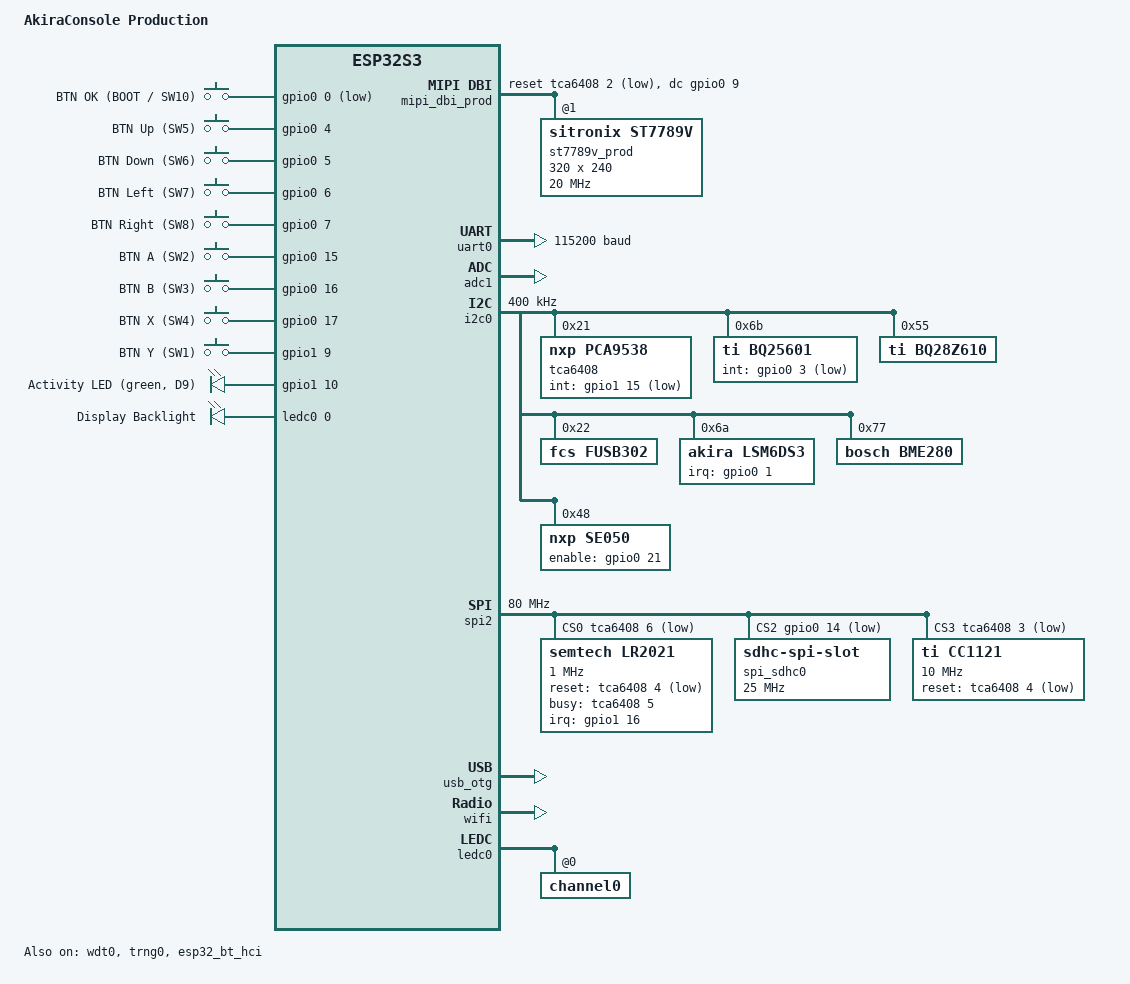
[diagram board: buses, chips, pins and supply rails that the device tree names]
/dts-v1/;

// Base SoC DTSI — ESP32-S3-WROOM-1-N8 pin-compatible with N16R8.
// Flash size override (16MB) applied via CONFIG_ESPTOOLPY_FLASHSIZE_16MB in .conf.
#include <espressif/esp32s3/esp32s3_mini_n8.dtsi>
#include <zephyr/dt-bindings/input/input-event-codes.h>
#include <zephyr/dt-bindings/gpio/gpio.h>
#include <zephyr/dt-bindings/i2c/i2c.h>
#include <zephyr/dt-bindings/mipi_dbi/mipi_dbi.h>
#include <zephyr/dt-bindings/pwm/pwm.h>
#include <espressif/partitions_0x0_amp.dtsi>
#include "akiraconsole_prod-pinctrl.dtsi"

/ {
	model = "AkiraConsole Production";
	compatible = "penengineering,akiraconsole-prod", "espressif,esp32s3";

	aliases {
		i2c-0     = &i2c0;
		watchdog0 = &wdt0;
		sw0       = &btn_ok;
		akira-led = &led_act;
	};

	chosen {
		zephyr,sram           = &sram1;
		zephyr,console        = &uart0;
		zephyr,shell-uart     = &uart0;
		zephyr,flash          = &flash0;
		zephyr,code-partition = &slot0_partition;
		zephyr,bt-hci         = &esp32_bt_hci;
		zephyr,display        = &st7789v_prod;
	};

	// =========================================================================
	// Buttons — direct ESP32-S3 GPIO connections
	//
	// D-pad + face: active-high, 100Ω series + 10k pull-up on PCB;
	//   GPIO input configured with pull-down for noise immunity.
	// BTN.OK (SW10 / GPIO0): active-low pull-up — also the BOOT mode trigger.
	//
	// zephyr,code maps to AKIRA_BTN_* (akira_input.h):
	//   INPUT_KEY_0=OK  2=UP 3=DOWN 4=LEFT 5=RIGHT 6=A 7=B 8=X 9=Y
	// =========================================================================
	gpio_keys {
		compatible = "gpio-keys";

		btn_ok: btn_ok {
			gpios = <&gpio0 0 (GPIO_PULL_UP | GPIO_ACTIVE_LOW)>;
			label = "BTN OK (BOOT / SW10)";
			zephyr,code = <1>; /* AKIRA_BTN_HOME = 1; INPUT_KEY_0 = 11, wrong value */
		};
		btn_up: btn_up {
			gpios = <&gpio0 4 (GPIO_PULL_DOWN | GPIO_ACTIVE_HIGH)>;
			label = "BTN Up (SW5)";
			zephyr,code = <2>;
		};
		btn_down: btn_down {
			gpios = <&gpio0 5 (GPIO_PULL_DOWN | GPIO_ACTIVE_HIGH)>;
			label = "BTN Down (SW6)";
			zephyr,code = <3>;
		};
		btn_left: btn_left {
			gpios = <&gpio0 6 (GPIO_PULL_DOWN | GPIO_ACTIVE_HIGH)>;
			label = "BTN Left (SW7)";
			zephyr,code = <4>;
		};
		btn_right: btn_right {
			gpios = <&gpio0 7 (GPIO_PULL_DOWN | GPIO_ACTIVE_HIGH)>;
			label = "BTN Right (SW8)";
			zephyr,code = <5>;
		};
		btn_a: btn_a {
			gpios = <&gpio0 15 (GPIO_PULL_DOWN | GPIO_ACTIVE_HIGH)>;
			label = "BTN A (SW2)";
			zephyr,code = <6>;
		};
		btn_b: btn_b {
			gpios = <&gpio0 16 (GPIO_PULL_DOWN | GPIO_ACTIVE_HIGH)>;
			label = "BTN B (SW3)";
			zephyr,code = <8>;
		};
		btn_x: btn_x {
			gpios = <&gpio0 17 (GPIO_PULL_DOWN | GPIO_ACTIVE_HIGH)>;
			label = "BTN X (SW4)";
			zephyr,code = <9>;
		};
		btn_y: btn_y {
			gpios = <&gpio1 9 (GPIO_PULL_DOWN | GPIO_ACTIVE_HIGH)>; // GPIO41
			label = "BTN Y (SW1)";
			zephyr,code = <7>;
		};
	};

	// =========================================================================
	// LEDs
	// D9 — LED.ACT (green, LTST-S270KGKT), GPIO42, 270Ω series resistor.
	// D8 — power indicator (yellow, LTST-S270KSKT) driven by power rail, no GPIO.
	// D10 — charge indicator (yellow, LTST-S270KSKT) driven by BQ25601 STAT pin.
	// =========================================================================
	leds {
		compatible = "gpio-leds";
		led_act: led_act {
			gpios = <&gpio1 10 GPIO_ACTIVE_HIGH>; // GPIO42
			label = "Activity LED (green, D9)";
		};
	};

	// =========================================================================
	// Brightness wheel (RV1 = RK10J12R0A0B) + backlight (AP2502)
	//
	// Hardware circuit on GPIO46:
	//   D2/D3 (BAT54J) + RV1 (10 kΩ rheostat, pin 1 ↔ 5) + C67 (10 nF)
	//   form a relaxation oscillator: f ≈ 9 kHz, duty cycle = pot position.
	//   → U5B → U5A (74LVC2G14 Schmitt triggers) → R63 → GPIO46 (INPUT)
	//                                                   └→ AP2502 EN (direct)
	//
	// Two modes for GPIO46 (pinctrl-0 selects):
	//   mcpwm0_default (default): MCPWM0 CAP0 input — reads duty cycle
	//     → akira,brightness-wheel driver maps to 0-255 position value
	//     → reported as INPUT_ABS_MISC axis (use like DPAD / joystick axis)
	//   ledc0_default (override): LEDC CH0 output — MCU controls brightness
	//     → backlight pwm-leds node; pwm_set_dt() controls duty cycle
	//
	// RV1 hardware range: 9 %–91 % (CW = dim, CCW = bright).
	// Pot pin 1 shorted to pin 5 (rheostat wiring, not full voltage divider).
	// =========================================================================
	// Generic rotary dial input — reports INPUT_ABS_WHEEL (0-255).
	// Apps read it the same way as buttons; no hardcoded "brightness" semantics.
	// Disabled by default: GPIO46 is in LEDC output mode for backlight control.
	// To enable: disable ledc0, enable mcpwm0, set status = "okay" here.
	dial0: dial0 {
		compatible    = "akira,pwm-dial";
		pwms          = <&mcpwm0 6 0 PWM_POLARITY_NORMAL>; /* CAP0 = ch 6 */
		akira,min-pct = <9>;   /* CW stop  → axis 0   */
		akira,max-pct = <91>;  /* CCW stop → axis 255 */
		akira,poll-ms = <50>;
		status        = "disabled";
	};

	backlight: backlight {
		compatible  = "pwm-leds";
		bl_pwm: bl_pwm {
			pwms  = <&ledc0 0 PWM_HZ(10000) PWM_POLARITY_NORMAL>;
			label = "Display Backlight";
		};
	};

	aliases {
		dial0          = &dial0;        /* rotary input, same API as buttons */
		pwm-backlight0 = &backlight;
	};

	// =========================================================================
	// MIPI DBI SPI controller — ST7789V (J7, XF2M-4015-1A, 40-pin FFC)
	//
	// DC   = GPIO9  (TFT_DC)
	// RST  = TCA6408 P2 (TFT_RST via I2C GPIO expander U6, pin 4)
	// CS   = SPI2 cs-gpios[1] = GPIO10 (TFT_CS, active low)
	//
	// Disable this node and enable akira_ili9341_prod (in overlay) for ILI9341.
	// Disable and enable ls027b7dh01 + CONFIG_AKIRA_SHARP_DISPLAY for Sharp LCD.
	// =========================================================================
	mipi_dbi_prod: mipi_dbi_prod {
		compatible  = "zephyr,mipi-dbi-spi";
		spi-dev     = <&spi2>;
		dc-gpios    = <&gpio0 9  GPIO_ACTIVE_HIGH>; // TFT_DC  = GPIO9
		reset-gpios = <&tca6408 2 GPIO_ACTIVE_LOW>;  // TFT_RST via TCA6408 P2 (U6 pin 4)
		write-only;
		#address-cells = <1>;
		#size-cells    = <0>;

		// -----------------------------------------------------------------
		// ST7789V — 2.8" IPS TFT LCD, 320×240
		// Target parts: HS280S030RX / YT280S030 / ZK028-240320FS02-C45
		// Connector: J7 (XF2M-4015-1A, 40-pin FFC, 0.5mm top-contact)
		// AP2502 (U22) 4-LED backlight driver; EN controlled by PWM (GPIO46)
		// -----------------------------------------------------------------
		st7789v_prod: st7789v@1 {
			compatible         = "sitronix,st7789v";
			reg                = <1>;           // SPI2 cs-gpios[1] = GPIO10
			mipi-max-frequency = <20000000>;    /* 20 MHz — ST7789V rated up to 16 MHz; 20 MHz confirmed stable on 40-pin FFC */
				ready-time-ms      = <120>;         // extra margin after reset
				width              = <320>;
				height             = <240>;
				x-offset           = <0>;
				y-offset           = <0>;
				// Measured on hardware: sending INVON produced a colour-negative
				// image, so this panel wants INVOFF.
				inversion-off;
			vcom          = <0x19>;
			gctrl         = <0x35>;
			vrhs          = <0x12>;
			vdvs          = <0x20>;
			// 0x60 = MX|MV (landscape). D3 (BGR) deliberately CLEAR: the Zephyr
			// driver reports PIXEL_FORMAT_RGB_565, so BGR here swapped red/blue.
			mdac          = <0x60>;
			gamma         = <0x01>;
			colmod        = <0x55>;
			lcm           = <0x2c>;
			porch-param   = [0c 0c 00 33 33];
			cmd2en-param  = [5a 69 02 01];
			pwctrl1-param = [a4 a1];
			pvgam-param   = [D0 04 0D 11 13 2B 3F 54 4C 18 0D 0B 1F 23];
			nvgam-param   = [D0 04 0C 11 13 2C 3F 44 51 2F 1F 1F 20 23];
			// RAMCTRL param2 bit3 = ENDIAN. Set (F0 -> F8) so the panel reads
			// pixels little-endian, matching the native uint16_t framebuffer.
			// Avoids byte-swapping 153600 B on every frame in software.
			ram-param     = [00 F8];
			rgb-param     = [CD 08 14];
			mipi-mode     = "MIPI_DBI_MODE_SPI_4WIRE";
			status        = "okay";
		};
	};
};

// =============================================================================
// UART0 — shell / debug / CP2102N (U15) → J3 (USB-C debug port, VBUS2)
// TX = GPIO43 (U0TXD), RX = GPIO44 (U0RXD) — standard WROOM-1 UART0 pins.
// =============================================================================
&uart0 {
	status        = "okay";
	current-speed = <115200>;
	pinctrl-0     = <&uart0_default>;
	pinctrl-names = "default";
};

// =============================================================================
// GPIO banks
// =============================================================================
&gpio0 { status = "okay"; };
&gpio1 { status = "okay"; };

// =============================================================================
// ADC — ESP32-S3 SAR ADC (adc1)
// =============================================================================
&adc1 { status = "okay"; };

// =============================================================================
// I2C0 — all internal I2C peripherals
// SDA = GPIO8, SCL = GPIO18
// External 4.7kΩ pull-ups R26 + R27 on PCB.
// Fast mode (400kHz) — all listed devices support it.
//
// IMPORTANT: TCA6408 must initialise before SPI2 devices that reference its
// GPIO pins as chip-selects.  Zephyr's device model resolves this dependency
// automatically via the GPIO phandle in cs-gpios.
// =============================================================================
&i2c0 {
	status        = "okay";
	clock-frequency = <I2C_BITRATE_FAST>;
	pinctrl-0     = <&i2cm0_default>;
	pinctrl-names = "default";

	// -------------------------------------------------------------------------
	// TCA6408ARSV — 8-bit I2C GPIO expander (U6)
	// 7-bit addr 0x21 (ADDR → GND; 8-bit WRITE=0x42, READ=0x43)
	// ~INT → IO_INT → GPIO47 (gpio1 pin 15): fires on any input-pin change.
	// ~RESET → +3.3V (always deasserted; hardware reset not used in firmware).
	//
	// Pin map (verified against KiCad netlist HWAkiraConsole.net):
	//   P0 = USB_SEL  output — USB mux select (U21)
	//   P1 = OTG_EN   output — enables TPS61023 5V boost for USB OTG host (Q7)
	//   P2 = TFT_RST  output — ST7789V display reset (active low)
	//   P3 = CC_CS    output — CC1121 SPI chip select (active low)
	//   P4 = RF_RST   output — LR2021 + CC1121 combined reset (active low)
	//   P5 = LR_BUSY  input  — LR2021 BUSY (high = chip busy / resetting)
	//   P6 = LR_CS    output — LR2021 SPI chip select (active low)
	//   P7 = SD_DET   input  — microSD card detect, DET_A (active low = present)
	// -------------------------------------------------------------------------
	tca6408: tca6408@21 {
		// TCA6408ARSV — only supports basic registers 0x00-0x03.
		// Use nxp,pca9538 (gpio_pca_series driver) which is register-compatible
		// and does NOT access extended PCAL registers (0x40-0x4F).
		// nxp,pcal6408a (gpio_pcal64xxa driver) reads reg 0x46 during init,
		// causing I2C failure and device init crash on TCA6408ARSV hardware.
		// status = "disabled" here so MCUboot does NOT auto-compile the driver.
		// The app overlay enables it under #ifndef CONFIG_MCUBOOT.
		compatible    = "nxp,pca9538";
		reg           = <0x21>;
		gpio-controller;
		#gpio-cells   = <2>;
		ngpios        = <8>;
		int-gpios     = <&gpio1 15 GPIO_ACTIVE_LOW>; // IO_INT = GPIO47 (gpio1 pin 15)
		status        = "okay"; // enabled in overlay for app build only
	};

	// -------------------------------------------------------------------------
	// BQ25601RTW — Li-Ion battery charger up to 3A (U17)
	// 7-bit addr 0x6B (8-bit WRITE=0xD6, READ=0xD7)
	// PSEL → +3.3V (500mA input current limit by default; raise via register).
	// QON → floating (internal pull-up; exits ship mode on adapter).
	// ~INT / STAT → PWR_INT → GPIO3.
	// Thermistor: 3435K NTC on TS pin.
	// -------------------------------------------------------------------------
	bq25601: bq25601@6b {
		compatible = "ti,bq25601";
		reg        = <0x6b>;
		constant-charge-current-max-microamp  = <1000000>;
		constant-charge-voltage-max-microvolt = <4200000>;
		int-gpios  = <&gpio0 3 GPIO_ACTIVE_LOW>; // PWR_INT = GPIO3
		status     = "okay";
	};

	// -------------------------------------------------------------------------
	// BQ28Z610DRZ — 1-cell fuel gauge + protection IC (U7)
	// 7-bit addr 0x55 (8-bit WRITE=0xAA, READ=0xAB)
	// Sense resistor: 1mΩ (R16, 0603 PA0603FRP7W0R001L).
	// Single-cell: VC1 tied to VC2. Dual back-to-back NFETs AO3400A (Q4/Q5).
	// Battery connector J8 (B3B-PH-SM4-TB): pin1=PACK, pin2=BAT, pin3=GND.
	// -------------------------------------------------------------------------
	bq28z610: bq28z610@55 {
		compatible = "ti,bq28z610";
		reg        = <0x55>;
		status     = "okay";
	};

	// -------------------------------------------------------------------------
	// FUSB302BMPX — USB-C PD controller (U8), J2 OTG port
	// 7-bit addr 0x22 (8-bit WRITE=0x44, READ=0x45)
	// Both VCONN pins tied to +3.3V (valid: 3.0–5.5V).
	// INT_N → USB_INT → TCA6408 P6 → triggers IO_INT on GPIO46.
	// -------------------------------------------------------------------------
	fusb302: fusb302@22 {
		compatible = "fcs,fusb302";
		reg        = <0x22>;
		status     = "okay";
	};

	// -------------------------------------------------------------------------
	// LSM6DS3 — 6-axis IMU: accel + gyro (U3)
	// 7-bit addr 0x6A (SDO/SA0 → GND; 8-bit WRITE=0xD4, READ=0xD5)
	// CS → +3.3V (I2C mode). INT1 → IMU_INT → GPIO1.
	// INT2 unused. Free-fall + activity routable to INT1 via register config.
	// Used for: tilt-based gaming input, drop-protection.
	// -------------------------------------------------------------------------
	lsm6ds3: lsm6ds3@6a {
		compatible = "akira,lsm6ds3";
		reg        = <0x6a>;
		irq-gpios  = <&gpio0 1 GPIO_ACTIVE_HIGH>; // IMU_INT = GPIO1
		status     = "okay";
	};

	// -------------------------------------------------------------------------
	// BME280 — temperature / pressure / humidity (U2, optional)
	// 7-bit addr 0x77 (CSB → +3.3V; 8-bit WRITE=0xEE, READ=0xEF)
	// Marked "BME280 Optional" in product spec — may not be populated.
	// -------------------------------------------------------------------------
	bme280: bme280@77 {
		// bosch,bme280 auto-selects the BME280 driver (I2C-dependent).
		// Disabled here for MCUboot; enabled by app overlay.
		compatible = "bosch,bme280";
		reg        = <0x77>;
		status     = "okay"; // enabled in overlay for app build only
	};

	// -------------------------------------------------------------------------
	// SE050C1HQ1/Z01SCZ — NXP EdgeLock Plug & Trust secure element (U4)
	// Rev A.3 (schematic Rev 1.3) replaces the Rev 1.2 ST25DV64K NFC tag.
	// I2C: 7-bit 0x48 (8-bit WRITE=0x90, READ=0x91) on the shared I2C bus.
	// Interface: I2C only (T=1' over I2C). ISO7816 contact interface unused —
	// RST_N tied to VSS; CLK/IO1/IO2 left unconnected. SE050 I2C-master unused.
	// ENA (enable) → GPIO21 (the former NFC_INT line), active high, ON by
	// default; drive LOW for deep power-down (~40 uA incl. 110k pull-up).
	// Contactless: external NFC antenna (Ezurio 0600-00061) for U2F / tap.
	// -------------------------------------------------------------------------
	se050: se050@48 {
		compatible   = "nxp,se050";
		reg          = <0x48>;
		enable-gpios = <&gpio0 21 GPIO_ACTIVE_HIGH>; // ENA = GPIO21
		status       = "okay";
	};
};

// =============================================================================
// SPI2 — shared high-speed peripheral bus
// MOSI = GPIO11, CLK = GPIO12 (R93 0Ω, default), MISO = GPIO13
//
// CS-GPIO map (index → signal → chip):
//   [0] TCA6408 P4 — LR_CS   — LR2021IMLTRT LoRa/FSK transceiver
//   [1] GPIO10     — TFT_CS  — ST7789V / ILI9341 display (J7)
//                            — Sharp LS027B7DH01 SCS (J4) when CONFIG_AKIRA_SHARP_DISPLAY=y
//   [2] GPIO14     — SD_CS   — microSD card (Molex 503398-1892, J1)
//   [3] TCA6408 P3 — CC_CS   — CC1121RHB Sub-GHz transceiver
//
// The Sharp Memory LCD SCS is active-HIGH (unusual). When using Sharp (J4)
// instead of TFT (J7), the overlay overrides cs-gpios[1] to GPIO_ACTIVE_HIGH
// via CONFIG_AKIRA_SHARP_DISPLAY.
// =============================================================================
&spi2 {
	status        = "okay";
	pinctrl-0     = <&spim2_default>;
	pinctrl-names = "default";
	clock-frequency = <80000000>;
	#address-cells = <1>;
	#size-cells    = <0>;

	cs-gpios =
		<&tca6408 6 GPIO_ACTIVE_LOW>,  // [0] LR_CS  (TCA6408 P6) — LR2021
		<&gpio0 10 GPIO_ACTIVE_LOW>,   // [1] TFT_CS (GPIO10)     — ST7789V/ILI9341
		<&gpio0 14 GPIO_ACTIVE_LOW>,   // [2] SD_CS  (GPIO14)     — microSD
		<&tca6408 3 GPIO_ACTIVE_LOW>;  // [3] CC_CS  (TCA6408 P3) — CC1121

	// -------------------------------------------------------------------------
	// LR2021IMLTRT (Semtech LR1121 core) — multi-band LoRa/FSK transceiver (U12)
	//
	// SPI  → shared SPI2 bus (MOSI/CLK/MISO)
	// CS   → TCA6408 P6 (LR_CS)         [cs-gpios index 0]
	// RST  → TCA6408 P4 (RF_RST)        shared with CC1121
	// BUSY → TCA6408 P5 (LR_BUSY)       input — high while chip is busy
	// IRQ  → GPIO48     (LR_INT = DIO5) direct GPIO — 40kΩ internal pull-up
	// VBAT → 3.3V rail  (1.8–3.7V OK; TX power derates below 2.2V)
	//
	// Primary:   868MHz LoRa (AkiraOS mesh network)
	// Secondary: 2.4GHz (PCB inverted-F antenna)
	// -------------------------------------------------------------------------
	lr2021: lr2021@0 {
		compatible        = "semtech,lr2021";
		reg               = <0>;
		spi-max-frequency = <1000000>;
		cs-gpios          = <&tca6408 6 GPIO_ACTIVE_LOW>;   // LR_CS via P6
		reset-gpios       = <&tca6408 4 GPIO_ACTIVE_LOW>;   // RF_RST via P4
		busy-gpios        = <&tca6408 5 GPIO_ACTIVE_HIGH>; // LR_BUSY via P5 (TCA6408 has no internal pulls)
		irq-gpios         = <&gpio1 16 GPIO_ACTIVE_HIGH>;   // LR_INT = GPIO48 (gpio1 pin 16)
		irq-dio           = <5>;                            // LR_INT routed from LR2021 DIO5
		status            = "okay";
	};

	// -------------------------------------------------------------------------
	// microSD card — SPI-SDHC (Molex 503398-1892, J1)
	// CS     → GPIO14 (SD_CS)             [cs-gpios index 2]
	// SD_DET → TCA6408 P7 (active low = card present)
	// -------------------------------------------------------------------------
	spi_sdhc0: sdhc@2 {
		compatible        = "zephyr,sdhc-spi-slot";
		reg               = <2>;
		spi-max-frequency = <25000000>;
		status            = "okay";
		mmc {
			compatible = "zephyr,sdmmc-disk";
			disk-name  = "SD";
			status     = "okay";
		};
	};

	// -------------------------------------------------------------------------
	// CC1121RHB — high-performance Sub-GHz transceiver (U16)
	// SPI  → shared SPI2 bus
	// CS   → TCA6408 P3 (CC_CS)           [cs-gpios index 3]
	// RST  → TCA6408 P4 (RF_RST)          shared with LR2021
	// EXT_XOSC → GND (onboard 32MHz XOSC on XOSC_Q1/Q2 used)
	// Covers 433MHz and 868/915MHz bands (swap one matching component for band).
	// -------------------------------------------------------------------------
	// CC1121RHB Sub-GHz transceiver.
	// All radio parameters live here — change frequency, power, or bitrate
	// by editing this node; no C driver changes required.
	cc1121: cc1121@3 {
		compatible              = "ti,cc1121";
		reg                     = <3>;
		spi-max-frequency       = <10000000>;
		reset-gpios             = <&tca6408 4 GPIO_ACTIVE_LOW>; // RF_RST via P4
		// AkiraConsole Production: 868 MHz Sub-GHz band
		// Swap to <433000000> for 433 MHz (also swap antenna matching component)
		// Swap to <915000000> for North American 915 MHz ISM band
		akira,default-frequency-hz  = <868000000>;
		akira,default-tx-power-dbm  = <14>;
		akira,default-bitrate-bps   = <4800>;
		akira,xosc-frequency-hz     = <32000000>; // Y1 crystal on PCB
		status                      = "okay";
	};

	// -------------------------------------------------------------------------
	// Sharp LS027B7DH01 — 2.7" Memory LCD, 400×240 monochrome (J4, XF2M-1015-1A)
	//
	// DISABLED BY DEFAULT — only one display connector (J4 or J7) is populated.
	// To use Sharp:
	//   CONFIG_AKIRA_SHARP_DISPLAY=y in .conf
	//   Overlay overrides cs-gpios[1] to GPIO_ACTIVE_HIGH (SCS is active HIGH)
	//   and sets zephyr,display = &ls027b7dh01
	//
	// SPI  → shared SPI2 (MOSI only; no MISO used)
	// SCS  → GPIO10 (TFT_CS = cs-gpios[1], active HIGH for Sharp)
	// EXTCOMIN → not used (EXTMODE=LOW → COM inversion via serial command)
	// DISP → pulled to +3.3V via R85 (10kΩ); MCU not controlling
	// VDD/VDDA → +5V (LM2750 charge pump, U19)
	// -------------------------------------------------------------------------
	ls027b7dh01: ls027b7dh01@1 {
		compatible        = "sharp,ls0xx";
		reg               = <1>;           // cs-gpios[1] = GPIO10 (needs ACTIVE_HIGH override)
		spi-max-frequency = <2000000>;
		width             = <400>;
		height            = <240>;
		status            = "disabled";   // enable with CONFIG_AKIRA_SHARP_DISPLAY=y
	};
};

// =============================================================================
// PSRAM — 8MB OPI PSRAM inside ESP32-S3-WROOM-1-N16R8 module
// =============================================================================
&psram0 {
	size   = <DT_SIZE_M(8)>;
	status = "okay";
};

// =============================================================================
// Watchdog
// =============================================================================
&wdt0 { status = "okay"; };

// =============================================================================
// TRNG
// =============================================================================
&trng0 { status = "okay"; };

// =============================================================================
// USB OTG — J2 (OTG/PD port, dual-role via FUSB302, U8)
// Native USB_D+ = GPIO20, USB_D- = GPIO19
// TS3USB221 (U21) mux: USB_SEL0=GPIO39, USB_SEL1=GPIO40
// OTG host power: TCA6408 P0 (OTG_EN) enables TPS61023 5V boost (U9)
// =============================================================================
zephyr_udc0: &usb_otg { status = "okay"; };

// =============================================================================
// WiFi
// =============================================================================
&wifi { status = "okay"; };

// =============================================================================
// Bluetooth HCI
// =============================================================================
&esp32_bt_hci { status = "okay"; };

// =============================================================================
// MCPWM0 — brightness wheel capture (default GPIO48 mode)
//
// Captures the RC oscillator duty cycle from the RV1 potentiometer circuit.
// prescale = 7 → capture counter clock = 80 MHz / 8 = 10 MHz (100 ns/tick).
// At 9 kHz oscillator: period ≈ 1111 ticks — good resolution for 9%–91%.
// Channel index 6 = capture unit 0 (per ESP32-S3 MCPWM channel numbering).
// =============================================================================
&mcpwm0 {
	pinctrl-0    = <&mcpwm0_default>;
	pinctrl-names = "default";
	prescale     = <7>;
	status       = "disabled"; /* GPIO46 used as LEDC output by default; swap here for wheel capture */
};

// =============================================================================
// LEDC — GPIO46 software brightness control (default enabled)
// AP2502 EN is driven by GPIO46 LEDC CH0 output.
// To switch to wheel capture mode: enable mcpwm0, disable ledc0, swap CONFIG.
// =============================================================================
&ledc0 {
	pinctrl-0    = <&ledc0_default>;
	pinctrl-names = "default";
	status = "okay";
	#address-cells = <1>;
	#size-cells    = <0>;

	channel0@0 {
		reg   = <0x0>;
		timer = <0>;
	};
};

// =============================================================================
// Unused peripherals
// =============================================================================
&timer0 { status = "disabled"; };
&timer1 { status = "disabled"; };
&timer2 { status = "disabled"; };
&timer3 { status = "disabled"; };
